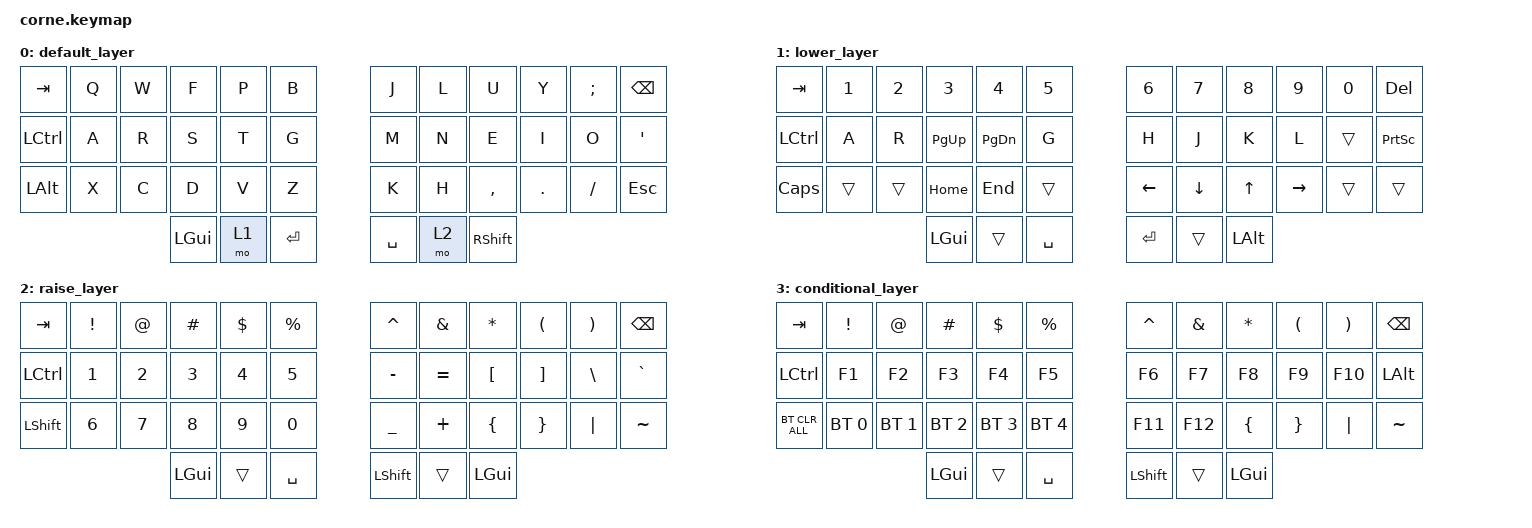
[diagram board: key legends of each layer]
/*
 * Copyright (c) 2020 The ZMK Contributors
 *
 * SPDX-License-Identifier: MIT
 */

#include <behaviors.dtsi>
#include <dt-bindings/zmk/keys.h>
#include <dt-bindings/zmk/bt.h>

/ {
    conditional_layers {
        compatible = "zmk,conditional-layers";
        tri_layer {
            if-layers = <1 2>;
            then-layer = <3>;
        };
    };
};

/ {
        keymap {
                compatible = "zmk,keymap";

                default_layer {
// -----------------------------------------------------------------------------------------
// | TAB  |  Q  |  W  |  F  |  P  |  B  |   |  J  |  L   |  U  |  Y  |  ;  | BSPC |
// | CTRL |  A  |  R  |  S  |  T  |  G  |   |  M  |  N   |  E  |  I  |  O  |  '   |
// | ALT  |  X  |  C  |  D  |  V  |  Z  |   |  K  |  H   |  ,  |  .  |  /  | ESC  |
//                    | GUI | LWR | RET |   | SPC | RSE  | SHFT|
                        bindings = <
   &kp TAB   &kp Q &kp W &kp F &kp P &kp B   &kp J &kp L  &kp U     &kp Y   &kp SEMI &kp BSPC
   &kp LCTRL &kp A &kp R &kp S &kp T &kp G   &kp M &kp N  &kp E     &kp I   &kp O    &kp SQT
   &kp LALT &kp X &kp C &kp D &kp V &kp Z   &kp K &kp H  &kp COMMA &kp DOT &kp FSLH &kp ESC
                  &kp LGUI &mo 1 &kp RET     &kp SPACE &mo 2 &kp RSHFT
                        >;
                };
                lower_layer {
// -----------------------------------------------------------------------------------------
// |  TAB |  1  |  2  |  3  |  4  |  5  |   |  6  |  7  |  8  |  9  |  0  | DEL |
// | CTRL |  A  |  R  |PGUP |PGDN |  G  |   |  H  |  J  |  K  |  L  |     | PSCRN|
// | CAPS |     |     |HOME | END |     |   | LFT | DWN |  UP | RGT |     |      |
//                    | GUI |     | SPC |   | ENT |     | ALT |
                        bindings = <
   &kp TAB   &kp N1 &kp N2 &kp N3   &kp N4  &kp N5     &kp N6   &kp N7    &kp N8   &kp N9    &kp N0  &kp DEL
   &kp LCTRL &kp A  &kp R  &kp PG_UP &kp PG_DN &kp G      &kp H    &kp J     &kp K    &kp L     &trans  &kp PSCRN
   &kp CAPS  &trans &trans &kp HOME &kp END &trans     &kp LEFT &kp DOWN  &kp UP   &kp RIGHT &trans  &trans
                           &kp LGUI &trans  &kp SPACE  &kp RET  &trans    &kp LALT
                        >;
                };

                raise_layer {
// -----------------------------------------------------------------------------------------
// |  TAB |  !  |  @  |  #  |  $  |  %  |   |  ^  |  &  |  *  |  (  |  )  | BSPC |
// | CTRL |  1  |  2  |  3  |  4  |  5  |   |  -  |  =  |  [  |  ]  |  \  |  `   |
// | SHFT |  6  |  7  |  8  |  9  |  0  |   |  _  |  +  |  {  |  }  | "|" |  ~   |
//                    | GUI |     | SPC |   | SHFT|     | GUI |
                        bindings = <
   &kp  TAB  &kp EXCL &kp AT &kp HASH &kp DLLR &kp PRCNT   &kp CARET &kp AMPS  &kp ASTRK &kp LPAR &kp RPAR &kp BSPC
   &kp LCTRL &kp N1   &kp N2 &kp N3   &kp N4   &kp N5      &kp MINUS &kp EQUAL &kp LBKT  &kp RBKT &kp BSLH &kp GRAVE
   &kp LSHFT &kp N6   &kp N7 &kp N8   &kp N9   &kp N0      &kp UNDER &kp PLUS  &kp LBRC  &kp RBRC &kp PIPE &kp TILDE
                             &kp LGUI &trans   &kp SPACE   &kp LSHFT &trans    &kp LGUI
                        >;
                };

                conditional_layer {
// -----------------------------------------------------------------------------------------
// |  TAB |  !  |  @  |  #  |  $  |  %  |   |  ^  |  &  |  *  |  (  |  )  | BSPC |
// | CTRL | F1  | F2  | F3  | F4  | F5  |   | F6  | F7  | F8  | F9  | F10 | ALT  |
// | BTCLR| BT1 | BT2 | BT3 | BT4 | BT5 |   | F11 | F12 |  {  |  }  | "|" |  ~   |
//                    | GUI |     | SPC |   | SHFT|     | GUI |
                        bindings = <
   &kp  TAB       &kp EXCL     &kp AT       &kp HASH     &kp DLLR     &kp PRCNT     &kp CARET &kp AMPS  &kp ASTRK &kp LPAR &kp RPAR &kp BSPC
   &kp LCTRL      &kp F1       &kp F2       &kp F3       &kp F4       &kp F5        &kp F6    &kp F7    &kp F8    &kp F9   &kp F10  &kp LALT
   &bt BT_CLR_ALL &bt BT_SEL 0 &bt BT_SEL 1 &bt BT_SEL 2 &bt BT_SEL 3 &bt BT_SEL 4  &kp F11   &kp F12   &kp LBRC  &kp RBRC &kp PIPE &kp TILDE
                             &kp LGUI &trans   &kp SPACE   &kp LSHFT &trans    &kp LGUI
                        >;
                };
        };
};
